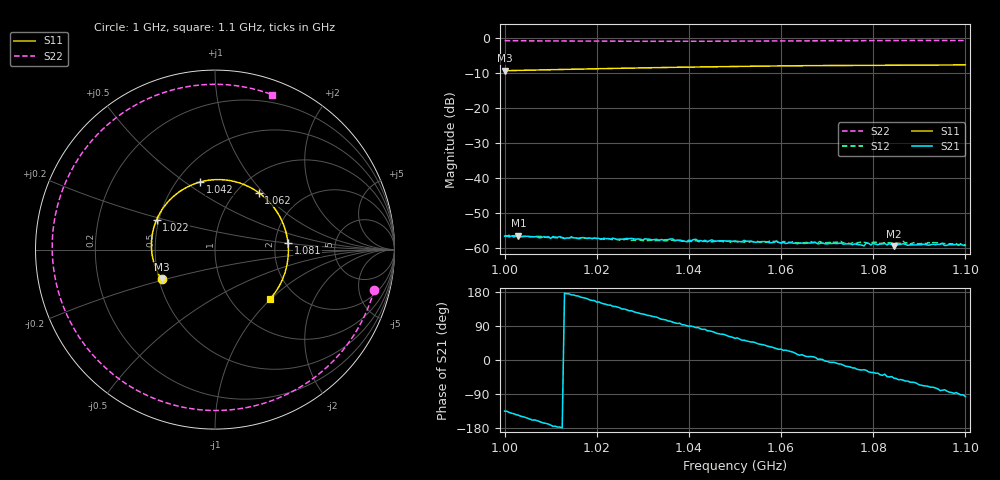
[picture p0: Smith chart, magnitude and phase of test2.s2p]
!Keysight Technologies N9923A: A.08.15
!Date: Wednesday, 14 February 2024 17:39:42
!Timezone: (GMT-05:00) Eastern Time (US & Canada)
!Model: N9923A
!Serial: MY52412730
!GPS Latitude:
!GPS Longitude:
!GPS TimeStamp: 0001-01-01 00:00:00Z
!GPS Seconds Since Last Read: 0
!CHECKSUM:1315801665
!Correction: S11(ON Q)S21(ON Q)S12(ON Q)S22(ON Q)
!S2P File: Measurements:S11,S21,S12,S22:
# Hz S DB R 50
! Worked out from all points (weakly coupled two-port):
!   201 points, 1 GHz to 1.1 GHz, reference 50 ohm
!   highest |S21| = -56.41 dB at 1.003 GHz (marker M1); lowest = -59.5 dB at 1.085 GHz (marker M2)
!   lowest |S11| = -9.3 dB at 1 GHz (marker M3), VSWR 2.03, Z = 25.8 - j9.68 ohm
!   |S11| at or under -10 dB: nowhere
!   |S22| runs from -1.0 to -0.7 dB; largest |S21 - S12| = 0.00016
!   S11 on the Smith chart (normalised r, x): 1 GHz: 0.52, -0.19; 1.022 GHz: 0.49, +0.19; 1.042 GHz: 0.65, +0.57; 1.062 GHz: 1.25, +0.94; 1.081 GHz: 2.36, +0.20; 1.1 GHz: 1.49, -0.99
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1e9  -9.35 -150.9  -56.62 -135.0  -56.40 -132.8  -0.77 -14.3
1.003e9  -9.26 -158.6  -56.41 -145.7  -56.73 -144.1  -0.80 -22.4
1.0095e9  -9.08 -175.2  -56.76 -169.2  -56.96 -169.3  -0.86 -40.2
1.017e9  -8.88 165.7  -56.99 164.7  -57.02 166.4  -0.91 -60.8
1.022e9  -8.74 153.0  -57.31 146.9  -57.37 148.0  -0.93 -74.5
1.028e9  -8.59 137.8  -57.34 127.8  -57.71 127.9  -0.95 -91.1
1.0335e9  -8.46 123.9  -57.77 110.4  -57.84 110.5  -0.96 -106.3
1.042e9  -8.28 102.4  -57.91 85.8  -58.15 82.6  -0.94 -129.8
1.05e9  -8.13 82.3  -57.95 57.2  -58.17 55.9  -0.91 -152.0
1.056e9  -8.04 67.3  -58.12 40.3  -58.34 38.7  -0.87 -168.6
1.062e9  -7.95 52.3  -58.35 22.6  -58.55 20.6  -0.83 174.7
1.067e9  -7.90 39.9  -58.35 8.3  -58.55 5.5  -0.80 160.8
1.0735e9  -7.84 23.7  -58.89 -13.5  -58.56 -13.2  -0.77 142.8
1.081e9  -7.78 5.1  -59.03 -34.8  -58.50 -36.7  -0.74 122.1
1.0835e9  -7.77 -1.1  -58.71 -44.7  -58.46 -42.2  -0.73 115.1
1.0845e9  -7.76 -3.6  -59.45 -48.0  -58.70 -47.6  -0.72 112.4
1.0865e9  -7.75 -8.6  -58.76 -53.3  -58.06 -52.0  -0.72 106.9
1.088e9  -7.75 -12.3  -59.12 -58.5  -58.94 -58.2  -0.72 102.7
1.092e9  -7.73 -22.2  -59.20 -70.0  -58.44 -69.8  -0.71 91.7
1.095e9  -7.71 -29.6  -58.71 -79.8  -58.56 -78.5  -0.72 83.5
1.0955e9  -7.71 -30.9  -59.28 -78.6  -58.70 -78.1  -0.72 82.1
1.1e9  -7.70 -42.0  -59.28 -96.5  -59.10 -91.7  -0.73 69.8
